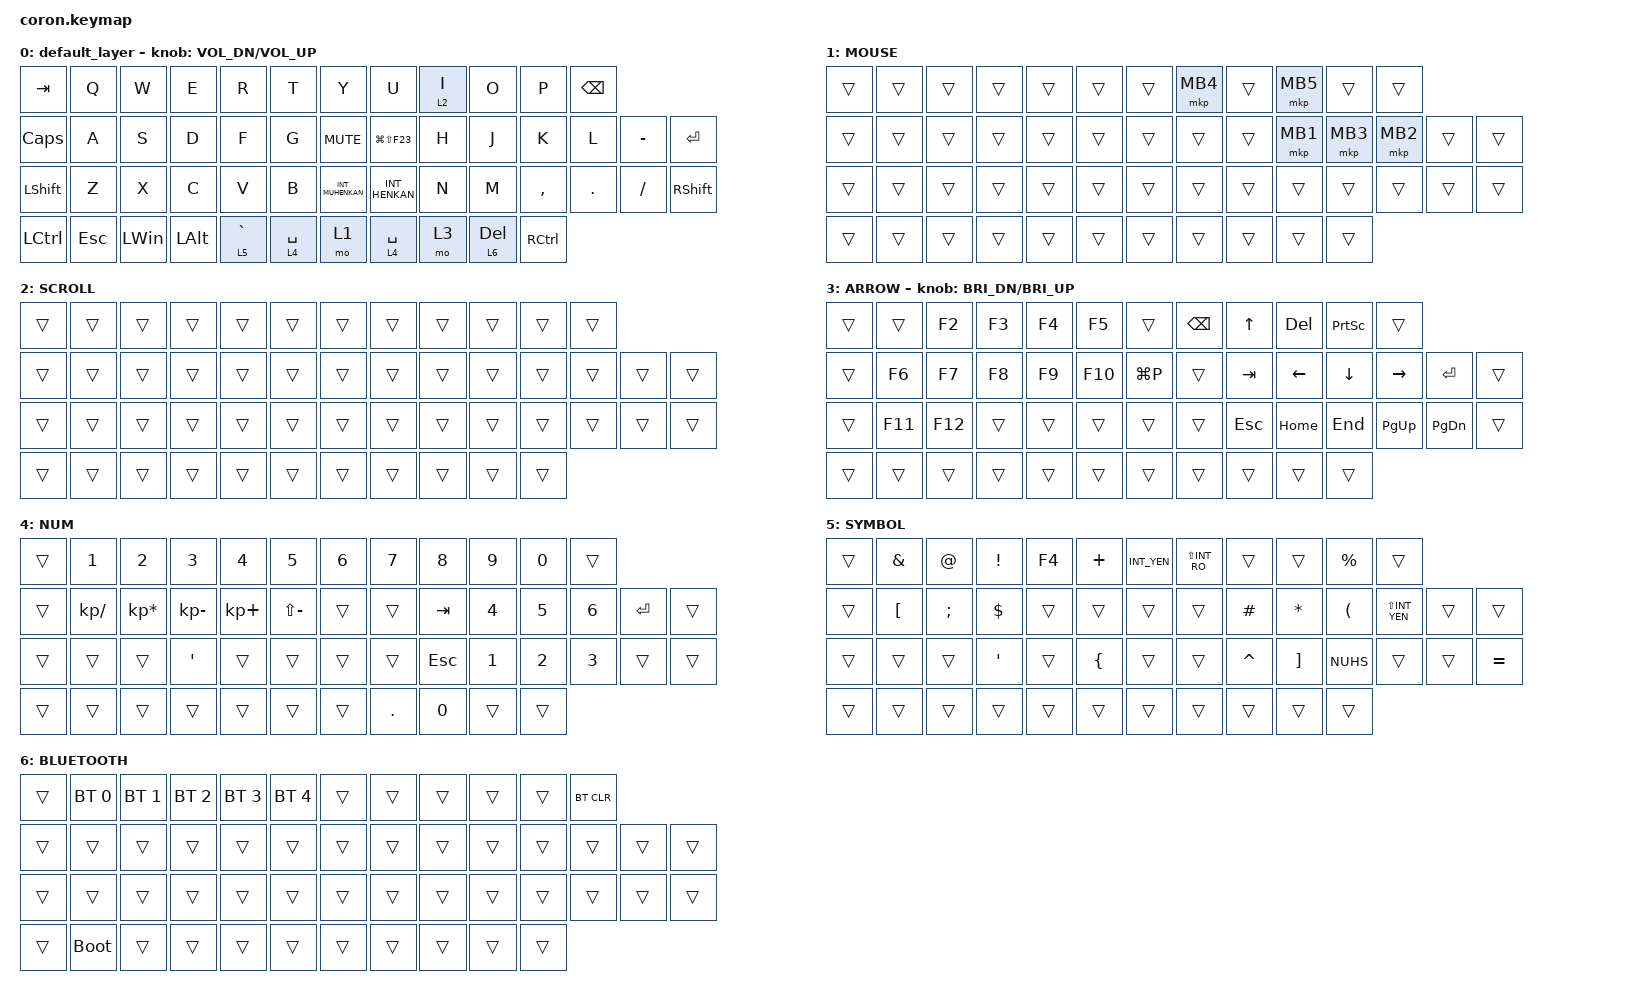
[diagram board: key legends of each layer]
/* coron.keymap */

#include <behaviors.dtsi>
#include <dt-bindings/zmk/bt.h>
#include <dt-bindings/zmk/keys.h>
#include <dt-bindings/zmk/pointing.h>

&mt {
    flavor = "balanced";
    quick-tap-ms = <0>;
};

&trackball {
    automouse-layer = <1>;
    scroll-layers = <2>;
};

/ {
    combos {
        compatible = "zmk,combos";

        /* Note: Key positions have shifted due to added columns. 
           You will need to recalculate these indices later. */
    };

    macros {
        to_layer_0: to_layer_0 {
            compatible = "zmk,behavior-macro-one-param";
            #binding-cells = <1>;
            bindings = <&to 0 &macro_param_1to1 &kp MACRO_PLACEHOLDER>;
            label = "TO_LAYER_0";
        };
    };

    behaviors {
        lt_to_layer_0: lt_to_layer_0 {
            compatible = "zmk,behavior-hold-tap";
            label = "LAYER_TAP_TO_0";
            bindings = <&mo>, <&to_layer_0>;

            #binding-cells = <2>;
            tapping-term-ms = <200>;
        };
    };

    keymap {
        compatible = "zmk,keymap";

        default_layer {
            bindings = <
&kp TAB         &kp Q    &kp W         &kp E         &kp R        &kp T        &kp Y             &kp U            &lt 2 I  &kp O         &kp P      &kp BACKSPACE
&kp CAPSLOCK    &kp A    &kp S         &kp D         &kp F        &kp G        &kp C_MUTE        &kp LG(LS(F23))  &kp H    &kp J         &kp K      &kp L          &kp MINUS  &kp ENTER
&kp LEFT_SHIFT  &kp Z    &kp X         &kp C         &kp V        &kp B        &kp INT_MUHENKAN  &kp INT_HENKAN   &kp N    &kp M         &kp COMMA  &kp DOT        &kp SLASH  &kp RIGHT_SHIFT
&kp LCTRL       &kp ESC  &kp LEFT_WIN  &kp LEFT_ALT  &lt 5 GRAVE  &lt 4 SPACE  &mo 1             &lt 4 SPACE      &mo 3    &lt 6 DELETE  &kp RCTRL
            >;

            sensor-bindings = <&inc_dec_kp C_VOL_DN C_VOL_UP>;
        };

        MOUSE {
            bindings = <
&trans  &trans  &trans  &trans  &trans  &trans  &trans  &mkp MB4  &trans  &mkp MB5  &trans    &trans
&trans  &trans  &trans  &trans  &trans  &trans  &trans  &trans    &trans  &mkp MB1  &mkp MB3  &mkp MB2  &trans  &trans
&trans  &trans  &trans  &trans  &trans  &trans  &trans  &trans    &trans  &trans    &trans    &trans    &trans  &trans
&trans  &trans  &trans  &trans  &trans  &trans  &trans  &trans    &trans  &trans    &trans
            >;
        };

        SCROLL {
            bindings = <
&trans  &trans  &trans  &trans  &trans  &trans  &trans  &trans  &trans  &trans  &trans  &trans
&trans  &trans  &trans  &trans  &trans  &trans  &trans  &trans  &trans  &trans  &trans  &trans  &trans  &trans
&trans  &trans  &trans  &trans  &trans  &trans  &trans  &trans  &trans  &trans  &trans  &trans  &trans  &trans
&trans  &trans  &trans  &trans  &trans  &trans  &trans  &trans  &trans  &trans  &trans
            >;
        };

        ARROW {
            bindings = <
&trans  &trans   &kp F2   &kp F3  &kp F4  &kp F5   &trans     &kp BACKSPACE  &kp UP_ARROW  &kp DELETE      &kp PRINTSCREEN  &trans
&trans  &kp F6   &kp F7   &kp F8  &kp F9  &kp F10  &kp LG(P)  &trans         &kp TAB       &kp LEFT_ARROW  &kp DOWN_ARROW   &kp RIGHT_ARROW  &kp ENTER      &trans
&trans  &kp F11  &kp F12  &trans  &trans  &trans   &trans     &trans         &kp ESCAPE    &kp HOME        &kp END          &kp PAGE_UP      &kp PAGE_DOWN  &trans
&trans  &trans   &trans   &trans  &trans  &trans   &trans     &trans         &trans        &trans          &trans
            >;

            sensor-bindings = <&inc_dec_kp C_BRI_DN C_BRI_UP>;
        };

        NUM {
            bindings = <
&trans  &kp NUMBER_1   &kp NUMBER_2     &kp NUMBER_3      &kp NUMBER_4  &kp N5         &kp NUMBER_6  &kp N7   &kp N8        &kp N9        &kp N0        &trans
&trans  &kp KP_DIVIDE  &kp KP_MULTIPLY  &kp KP_MINUS      &kp KP_PLUS   &kp LS(MINUS)  &trans        &trans   &kp TAB       &kp NUMBER_4  &kp NUMBER_5  &kp NUMBER_6  &kp ENTER  &trans
&trans  &trans         &trans           &kp SINGLE_QUOTE  &trans        &trans         &trans        &trans   &kp ESCAPE    &kp NUMBER_1  &kp NUMBER_2  &kp NUMBER_3  &trans     &trans
&trans  &trans         &trans           &trans            &trans        &trans         &trans        &kp DOT  &kp NUMBER_0  &trans        &trans
            >;
        };

        SYMBOL {
            bindings = <
&trans  &kp AMPERSAND     &kp AT         &kp EXCLAMATION   &kp F4  &kp PLUS        &kp INT_YEN  &kp LS(INT_RO)  &trans     &trans             &kp PERCENT           &trans
&trans  &kp LEFT_BRACKET  &kp SEMICOLON  &kp DOLLAR        &trans  &trans          &trans       &trans          &kp HASH   &kp ASTERISK       &kp LEFT_PARENTHESIS  &kp LS(INT_YEN)  &trans  &trans
&trans  &trans            &trans         &kp SINGLE_QUOTE  &trans  &kp LEFT_BRACE  &trans       &trans          &kp CARET  &kp RIGHT_BRACKET  &kp NUHS              &trans           &trans  &kp EQUAL
&trans  &trans            &trans         &trans            &trans  &trans          &trans       &trans          &trans     &trans             &trans
            >;
        };

        BLUETOOTH {
            bindings = <
&trans  &bt BT_SEL 0  &bt BT_SEL 1  &bt BT_SEL 2  &bt BT_SEL 3  &bt BT_SEL 4  &trans  &trans  &trans  &trans  &trans  &bt BT_CLR
&trans  &trans        &trans        &trans        &trans        &trans        &trans  &trans  &trans  &trans  &trans  &trans      &trans  &trans
&trans  &trans        &trans        &trans        &trans        &trans        &trans  &trans  &trans  &trans  &trans  &trans      &trans  &trans
&trans  &bootloader   &trans        &trans        &trans        &trans        &trans  &trans  &trans  &trans  &trans
            >;
        };
    };
};
